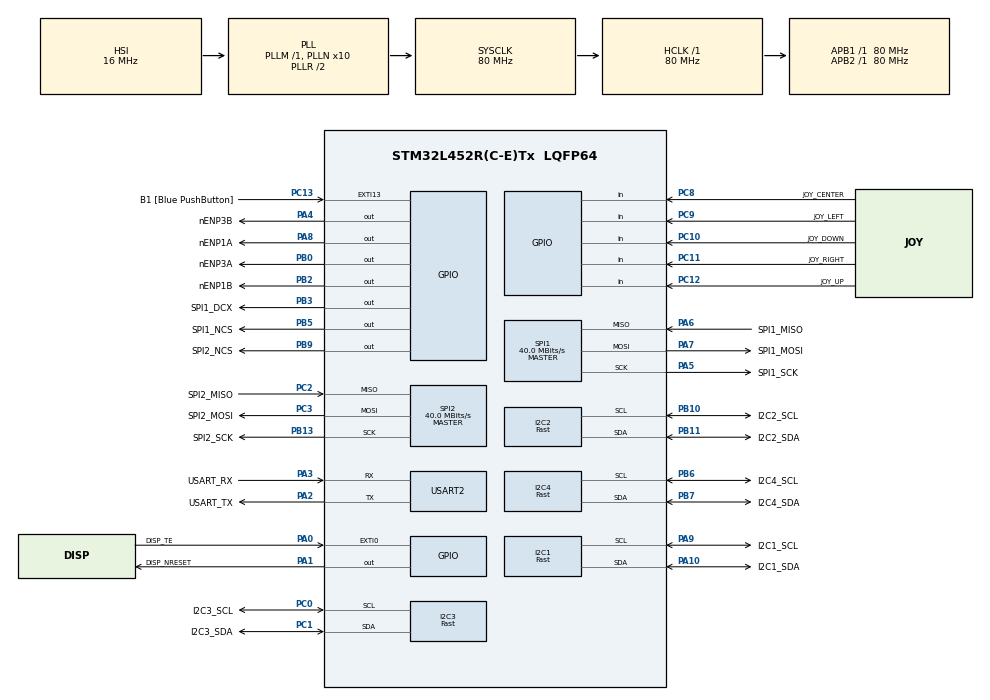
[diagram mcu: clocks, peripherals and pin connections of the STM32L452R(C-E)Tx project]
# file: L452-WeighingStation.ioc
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Dma.USART2_TX.7.MemInc=DMA_MINC_ENABLE
Dma.SPI2_TX.2.PeriphInc=DMA_PINC_DISABLE
Dma.SPI2_TX.2.MemInc=DMA_MINC_ENABLE
FREERTOS.Queues01=LineQueue,16,uint32_t,0,Dynamic,NULL,NULL
Dma.USART2_TX.7.Priority=DMA_PRIORITY_LOW
VP_SYS_VS_tim6.Mode=TIM6
Dma.SPI1_TX.0.PeriphInc=DMA_PINC_DISABLE
I2C1.I2C_Speed_Mode=I2C_Fast
SPI1.VirtualType=VM_MASTER
SPI2.VirtualType=VM_MASTER
PB10.Mode=I2C
NVIC.TIM6_DAC_IRQn=true\:0\:0\:false\:false\:true\:false\:false\:true
PC12.Signal=GPIO_Input
PA3.GPIO_PuPd=GPIO_NOPULL
Dma.USART2_RX.6.MemDataAlignment=DMA_MDATAALIGN_BYTE
PC1.GPIO_PuPdOD=GPIO_PULLUP
PC0.GPIO_PuPdOD=GPIO_PULLUP
PA6.GPIO_Label=SPI1_MISO
PB6.GPIO_Label=I2C4_SCL
PC15-OSC32_OUT\ (PC15).Mode=LSE-External-Oscillator
Dma.I2C4_RX.5.MemDataAlignment=DMA_MDATAALIGN_BYTE
Dma.SPI2_RX.1.Mode=DMA_NORMAL
PA3.GPIO_Speed=GPIO_SPEED_FREQ_VERY_HIGH
PB13.Signal=SPI2_SCK
PB3\ (JTDO/TRACESWO).GPIO_Speed=GPIO_SPEED_FREQ_HIGH
Dma.I2C1_RX.3.Priority=DMA_PRIORITY_LOW
PC3.GPIO_Speed=GPIO_SPEED_FREQ_HIGH
RCC.SYSCLKSource=RCC_SYSCLKSOURCE_PLLCLK
PC14-OSC32_IN\ (PC14).Mode=LSE-External-Oscillator
Dma.USART2_RX.6.Direction=DMA_PERIPH_TO_MEMORY
NVIC.DMA1_Channel3_IRQn=true\:5\:0\:false\:false\:true\:true\:false\:true
Dma.SPI2_RX.1.PeriphDataAlignment=DMA_PDATAALIGN_BYTE
PA14\ (JTCK/SWCLK).Signal=SYS_JTCK-SWCLK
I2C4.Timing=0x00702991
SPI1.Direction=SPI_DIRECTION_2LINES
I2C2.I2C_Speed_Mode=I2C_Fast
RCC.APB2TimFreq_Value=80000000
PB6.Signal=I2C4_SCL
PB6.Mode=I2C
SPI1.CalculateBaudRate=40.0 MBits/s
Dma.USART2_RX.6.Instance=DMA1_Channel6
PC3.Signal=SPI2_MOSI
PA1.GPIO_PuPd=GPIO_PULLUP
RCC.PREFETCH_ENABLE=1
Dma.I2C1_RX.3.Mode=DMA_NORMAL
NVIC.EXTI15_10_IRQn=true\:5\:0\:false\:false\:true\:true\:true\:true
PB2.Signal=GPIO_Output
PA13\ (JTMS/SWDIO).GPIO_Label=TMS
NVIC.DMA2_Channel4_IRQn=true\:5\:0\:false\:false\:true\:true\:false\:true
SPI1.DataSize=SPI_DATASIZE_8BIT
SPI2.CalculateBaudRate=40.0 MBits/s
Dma.I2C4_RX.5.Instance=DMA2_Channel1
PA8.Signal=GPIO_Output
PA14\ (JTCK/SWCLK).Mode=Serial_Wire
VP_FREERTOS_VS_CMSIS_V1.Mode=CMSIS_V1
PB6.GPIO_PuPdOD=GPIO_PULLUP
PA0.Signal=GPXTI0
Dma.SPI1_TX.0.Mode=DMA_NORMAL
Mcu.Package=LQFP64
PB9.Signal=GPIO_Output
NVIC.TimeBase=TIM6_DAC_IRQn
SPI2.Mode=SPI_MODE_MASTER
Dma.SPI2_TX.2.Mode=DMA_NORMAL
NVIC.TimeBaseIP=TIM6
PA10.Signal=I2C1_SDA
PB9.GPIO_PuPd=GPIO_PULLUP
Dma.I2C4_RX.5.PeriphDataAlignment=DMA_PDATAALIGN_BYTE
PA1.PinState=GPIO_PIN_SET
Dma.SPI2_RX.1.Instance=DMA1_Channel4
PB5.GPIO_Speed=GPIO_SPEED_FREQ_HIGH
Dma.USART2_TX.7.PeriphDataAlignment=DMA_PDATAALIGN_BYTE
PA14\ (JTCK/SWCLK).GPIO_Label=TCK
RCC.APB1TimFreq_Value=80000000
PB13.Mode=Full_Duplex_Master
NVIC.DMA1_Channel4_IRQn=true\:5\:0\:false\:false\:true\:true\:false\:true
PA6.GPIO_Speed=GPIO_SPEED_FREQ_HIGH
Dma.I2C4_RX.5.Mode=DMA_NORMAL
PA4.GPIO_Label=nENP3B
Dma.USART2_TX.7.Instance=DMA1_Channel7
RCC.HSI48_VALUE=48000000
Dma.I2C1_RX.3.MemDataAlignment=DMA_MDATAALIGN_BYTE
PA5.Mode=Full_Duplex_Master
PA2.GPIO_Mode=GPIO_MODE_AF_PP
NVIC.DMA1_Channel6_IRQn=true\:5\:0\:false\:false\:true\:true\:false\:true
I2C4.I2C_Speed_Mode=I2C_Fast
FREERTOS.Tasks01=defaultTask,0,128,StartDefaultTask,Default,NULL,Dynamic,NULL,NULL;WriteLineTask,-3,1024,StartWriteLineTask,Default,NULL,Dynamic,NULL,NULL;ReadI2C1Task,-3,128,StartReadI2C1Task,Default,NULL,Dynamic,NULL,NULL;ReadI2C2Task,-3,128,StartReadI2C2Task,Default,NULL,Dynamic,NULL,NULL;ReadI2C3Task,-3,128,StartReadI2C3Task,Default,NULL,Dynamic,NULL,NULL;ReadI2C4Task,-3,128,StartReadI2C4Task,Default,NULL,Dynamic,NULL,NULL;ShowWeightTask,-3,128,StartShowWeightTask,Default,NULL,Dynamic,NULL,NULL;DebugTask,-3,1024,StartDebugTask,Default,NULL,Dynamic,NULL,NULL
Dma.I2C3_RX.4.Mode=DMA_NORMAL
Dma.I2C4_RX.5.Priority=DMA_PRIORITY_LOW
FREERTOS.INCLUDE_xTaskGetCurrentTaskHandle=1
PA9.GPIO_Label=I2C1_SCL
PC13.Signal=GPXTI13
FREERTOS.configCHECK_FOR_STACK_OVERFLOW=2
PB10.GPIO_PuPdOD=GPIO_PULLUP
PB11.GPIO_PuPdOD=GPIO_PULLUP
PC2.Signal=SPI2_MISO
PB11.GPIO_Label=I2C2_SDA
PC0.Signal=I2C3_SCL
Dma.USART2_RX.6.PeriphInc=DMA_PINC_DISABLE
PA3.Mode=Asynchronous
Dma.USART2_RX.6.MemInc=DMA_MINC_ENABLE
Dma.USART2_RX.6.Mode=DMA_CIRCULAR
PA8.GPIO_Label=nENP1A
Dma.I2C3_RX.4.MemInc=DMA_MINC_ENABLE
PB11.Mode=I2C
Dma.I2C3_RX.4.MemDataAlignment=DMA_MDATAALIGN_BYTE
Dma.I2C4_RX.5.PeriphInc=DMA_PINC_DISABLE
PA9.Signal=I2C1_SCL
I2C1.Timing=0x00702991
PB13.GPIO_Speed=GPIO_SPEED_FREQ_HIGH
NVIC.I2C2_ER_IRQn=true\:5\:0\:false\:false\:true\:true\:true\:true
PB10.Signal=I2C2_SCL
PA5.Signal=SPI1_SCK
PA7.GPIO_Speed=GPIO_SPEED_FREQ_HIGH
NVIC.SPI1_IRQn=true\:5\:0\:false\:false\:true\:true\:true\:true
SPI1.Mode=SPI_MODE_MASTER
PA1.GPIO_Label=DISP_NRESET
Dma.SPI1_TX.0.Instance=DMA2_Channel4
NVIC.DMA2_Channel6_IRQn=true\:5\:0\:false\:false\:true\:true\:false\:true
Dma.USART2_TX.7.Direction=DMA_MEMORY_TO_PERIPH
PB7.GPIO_PuPdOD=GPIO_PULLUP
SPI1.NSSPMode=SPI_NSS_PULSE_DISABLE
PA4.Signal=GPIO_Output
PB5.Signal=GPIO_Output
PA5.GPIO_Label=SPI1_SCK
PB5.GPIO_PuPd=GPIO_PULLUP
PC12.GPIO_Label=JOY_UP
PB9.PinState=GPIO_PIN_SET
NVIC.DMA2_Channel1_IRQn=true\:5\:0\:false\:false\:true\:true\:false\:true
ProjectManager.HeapSize=0x200
Dma.I2C3_RX.4.Instance=DMA1_Channel3
Dma.USART2_TX.7.MemDataAlignment=DMA_MDATAALIGN_BYTE
NVIC.PriorityGroup=NVIC_PRIORITYGROUP_4
PC3.GPIO_Label=SPI2_MOSI
SPI2.DataSize=SPI_DATASIZE_8BIT
PB0.Signal=GPIO_Output
Dma.SPI2_RX.1.MemInc=DMA_MINC_ENABLE
PC1.Signal=I2C3_SDA
PA13\ (JTMS/SWDIO).Signal=SYS_JTMS-SWDIO
PC1.Mode=I2C
I2C3.I2C_Speed_Mode=I2C_Fast
Mcu.Family=STM32L4
PC3.Mode=Full_Duplex_Master
PA2.GPIO_PuPd=GPIO_NOPULL
Dma.SPI1_TX.0.MemInc=DMA_MINC_ENABLE
PA6.Mode=Full_Duplex_Master
Dma.SPI2_RX.1.MemDataAlignment=DMA_MDATAALIGN_BYTE
RCC.CortexFreq_Value=80000000
NVIC.DMA1_Channel5_IRQn=true\:5\:0\:false\:false\:true\:true\:false\:true
Dma.I2C1_RX.3.Direction=DMA_PERIPH_TO_MEMORY
PC10.Signal=GPIO_Input
I2C2.Timing=0x00702991
PA0.GPIO_Label=DISP_TE
PA2.GPIO_Speed=GPIO_SPEED_FREQ_VERY_HIGH
PC0.GPIO_Label=I2C3_SCL
PB0.GPIO_Label=nENP3A
PC2.GPIO_Speed=GPIO_SPEED_FREQ_HIGH
PC13.GPIO_Label=B1 [Blue PushButton]
PB13.GPIO_Label=SPI2_SCK
PB11.Signal=I2C2_SDA
Dma.SPI2_RX.1.Direction=DMA_PERIPH_TO_MEMORY
ProjectManager.StackSize=0x400
Dma.I2C4_RX.5.MemInc=DMA_MINC_ENABLE
PB0.PinState=GPIO_PIN_SET
Dma.USART2_TX.7.PeriphInc=DMA_PINC_DISABLE
RCC.HCLKFreq_Value=80000000
Dma.I2C3_RX.4.Priority=DMA_PRIORITY_LOW
PB5.PinState=GPIO_PIN_SET
Dma.SPI2_TX.2.PeriphDataAlignment=DMA_PDATAALIGN_BYTE
FREERTOS.configUSE_MALLOC_FAILED_HOOK=1
Dma.SPI2_TX.2.Instance=DMA1_Channel5
RCC.AHBFreq_Value=80000000
RCC.HSE_VALUE=8000000
USART2.VirtualMode-Asynchronous=VM_ASYNC
FREERTOS.configENABLE_BACKWARD_COMPATIBILITY=0
PC11.GPIO_Label=JOY_RIGHT
PA10.GPIO_Label=I2C1_SDA
PC13.GPIO_PuPd=GPIO_NOPULL
PB7.Signal=I2C4_SDA
NVIC.SPI2_IRQn=true\:5\:0\:false\:false\:true\:true\:true\:true
Dma.SPI2_TX.2.MemDataAlignment=DMA_MDATAALIGN_BYTE
FREERTOS.configTOTAL_HEAP_SIZE=65536
Dma.I2C4_RX.5.Direction=DMA_PERIPH_TO_MEMORY
PB7.GPIO_Label=I2C4_SDA
Dma.I2C1_RX.3.PeriphInc=DMA_PINC_DISABLE
PA6.Signal=SPI1_MISO
Dma.SPI2_TX.2.Priority=DMA_PRIORITY_LOW
PA10.GPIO_PuPdOD=GPIO_PULLUP
PA2.GPIO_Label=USART_TX
I2C3.Timing=0x00702991
PB9.GPIO_Speed=GPIO_SPEED_FREQ_HIGH
PB5.GPIO_Label=SPI1_NCS
Dma.Request2=SPI2_TX
Dma.Request1=SPI2_RX
Dma.Request4=I2C3_RX
Dma.Request3=I2C1_RX
Dma.Request6=USART2_RX
Dma.Request5=I2C4_RX
SPI2.Direction=SPI_DIRECTION_2LINES
Dma.Request7=USART2_TX
Dma.Request0=SPI1_TX
PC2.GPIO_Label=SPI2_MISO
PA8.PinState=GPIO_PIN_SET
PA3.Signal=USART2_RX
Dma.USART2_RX.6.PeriphDataAlignment=DMA_PDATAALIGN_BYTE
PB3\ (JTDO/TRACESWO).GPIO_Label=SPI1_DCX
RCC.MSI_VALUE=4000000
RCC.PLLSourceVirtual=RCC_PLLSOURCE_HSI
PA7.Mode=Full_Duplex_Master
PA13\ (JTMS/SWDIO).Mode=Serial_Wire
PB9.GPIO_Label=SPI2_NCS
PC10.GPIO_Label=JOY_DOWN
PA10.Mode=I2C
PC9.GPIO_Label=JOY_LEFT
PC11.Signal=GPIO_Input
SPI2.NSSPMode=SPI_NSS_PULSE_DISABLE
PC8.Signal=GPIO_Input
Dma.I2C1_RX.3.PeriphDataAlignment=DMA_PDATAALIGN_BYTE
PC2.Mode=Full_Duplex_Master
PC15-OSC32_OUT\ (PC15).Signal=RCC_OSC32_OUT
Dma.I2C3_RX.4.PeriphInc=DMA_PINC_DISABLE
NVIC.USART2_IRQn=true\:5\:0\:false\:false\:true\:true\:true\:true
PC0.Mode=I2C
PC8.GPIO_Label=JOY_CENTER
PA9.Mode=I2C
PA4.PinState=GPIO_PIN_SET
FREERTOS.configRECORD_STACK_HIGH_ADDRESS=1
PB3\ (JTDO/TRACESWO).Signal=GPIO_Output
ProjectManager.TargetToolchain=STM32CubeIDE
PB10.GPIO_Label=I2C2_SCL
PA3.GPIO_Mode=GPIO_MODE_AF_PP
Dma.SPI2_TX.2.Direction=DMA_MEMORY_TO_PERIPH
Dma.SPI1_TX.0.PeriphDataAlignment=DMA_PDATAALIGN_HALFWORD
Dma.SPI1_TX.0.Direction=DMA_MEMORY_TO_PERIPH
RCC.USBFreq_Value=64000000
Dma.USART2_TX.7.Mode=DMA_NORMAL
PA1.Signal=GPIO_Output
board=NUCLEO-L452RE
RCC.VCOOutputFreq_Value=160000000
RCC.APB2Freq_Value=80000000
Dma.SPI2_RX.1.Priority=DMA_PRIORITY_LOW
PA1.GPIO_Speed=GPIO_SPEED_FREQ_HIGH
RCC.ADCFreq_Value=64000000
PC1.GPIO_Label=I2C3_SDA
PA9.GPIO_PuPdOD=GPIO_PULLUP
Dma.I2C3_RX.4.Direction=DMA_PERIPH_TO_MEMORY
Mcu.Name=STM32L452R(C-E)Tx
PB2.PinState=GPIO_PIN_SET
Dma.SPI2_RX.1.PeriphInc=DMA_PINC_DISABLE
Dma.I2C1_RX.3.Instance=DMA2_Channel6
PA2.Signal=USART2_TX
Dma.I2C3_RX.4.PeriphDataAlignment=DMA_PDATAALIGN_BYTE
NVIC.EXTI0_IRQn=true\:5\:0\:true\:false\:true\:true\:true\:true
RCC.SYSCLKFreq_VALUE=80000000
PA7.GPIO_Label=SPI1_MOSI
PC13.GPIO_ModeDefaultEXTI=GPIO_MODE_IT_FALLING
PC14-OSC32_IN\ (PC14).Signal=RCC_OSC32_IN
PB7.Mode=I2C
PB2.GPIO_Label=nENP1B
Dma.SPI1_TX.0.Priority=DMA_PRIORITY_LOW
Dma.SPI1_TX.0.MemDataAlignment=DMA_MDATAALIGN_HALFWORD
NVIC.I2C2_EV_IRQn=true\:5\:0\:false\:false\:true\:true\:true\:true
RCC.HSI_VALUE=16000000
Dma.I2C1_RX.3.MemInc=DMA_MINC_ENABLE
Dma.USART2_RX.6.Priority=DMA_PRIORITY_LOW
PA5.GPIO_Speed=GPIO_SPEED_FREQ_HIGH
RCC.PLLN=10
PA2.Mode=Asynchronous
NVIC.DMA1_Channel7_IRQn=true\:5\:0\:false\:false\:true\:true\:false\:true
PC9.Signal=GPIO_Input
RCC.APB1Freq_Value=80000000
VP_CRC_VS_CRC.Mode=CRC_Activate
PA3.GPIO_Label=USART_RX
PA7.Signal=SPI1_MOSI

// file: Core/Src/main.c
/* USER CODE BEGIN Header */
/**
  ******************************************************************************
  * @file           : main.c
  * @brief          : Main program body
  ******************************************************************************
  * @attention
  *
  * <h2><center>&copy; Copyright (c) 2020 STMicroelectronics.
  * All rights reserved.</center></h2>
  *
  * This software component is licensed by ST under BSD 3-Clause license,
  * the "License"; You may not use this file except in compliance with the
  * License. You may obtain a copy of the License at:
  *                        opensource.org/licenses/BSD-3-Clause
  *
  ******************************************************************************
  */
/* USER CODE END Header */
#include "main.h"
#include "cmsis_os.h"

/* USER CODE BEGIN Includes */
#include <stdio.h>
#include <stdarg.h>
#include <string.h>
#include "app_display.h"
/* USER CODE END Includes */

/* USER CODE BEGIN PTD */
typedef struct _cell_t {
	I2C_HandleTypeDef *handle;
	volatile uint8_t address;
	GPIO_TypeDef *gpio;
	uint16_t pin;
} CellTypeDef;
/* USER CODE END PTD */

CRC_HandleTypeDef hcrc;

I2C_HandleTypeDef hi2c1;
I2C_HandleTypeDef hi2c2;
I2C_HandleTypeDef hi2c3;
I2C_HandleTypeDef hi2c4;
DMA_HandleTypeDef hdma_i2c1_rx;
DMA_HandleTypeDef hdma_i2c3_rx;
DMA_HandleTypeDef hdma_i2c4_rx;

SPI_HandleTypeDef hspi1;
SPI_HandleTypeDef hspi2;
DMA_HandleTypeDef hdma_spi1_tx;
DMA_HandleTypeDef hdma_spi2_rx;
DMA_HandleTypeDef hdma_spi2_tx;

UART_HandleTypeDef huart2;
DMA_HandleTypeDef hdma_usart2_rx;
DMA_HandleTypeDef hdma_usart2_tx;

osThreadId defaultTaskHandle;
osThreadId WriteLineTaskHandle;
osThreadId ReadI2C1TaskHandle;
osThreadId ReadI2C2TaskHandle;
osThreadId ReadI2C3TaskHandle;
osThreadId ReadI2C4TaskHandle;
osThreadId ShowWeightTaskHandle;
osThreadId DebugTaskHandle;
osMessageQId LineQueueHandle;
/* USER CODE BEGIN PV */
volatile unsigned int u2rc;
volatile unsigned int u2hrc;
volatile unsigned int u2tc;
volatile unsigned int u2htc;
volatile unsigned int u2ec;
volatile unsigned int u2ic;
volatile unsigned int errs[4], errs3, errs4;
volatile unsigned int counts[4], counts3, counts4;
volatile unsigned int stale[4], stale3, stale4;
volatile unsigned int badstatus[4], badstatus3, badstatus4;
volatile uint8_t bridgeValue[4 * 4], bridgeValue3[4], bridgeValue4[4];
unsigned char dbgBuf[256];
unsigned char input[64];
unsigned char u2tx[256];
unsigned char u2rx[64];
volatile uint8_t setZero[4];
volatile uint8_t setZero3;
volatile uint8_t setZero4;
volatile uint8_t availableCells;
CellTypeDef cell[4] = {
		{&hi2c1, 0, nENP1A_GPIO_Port, nENP1A_Pin},
		{&hi2c1, 0, nENP1B_GPIO_Port, nENP1B_Pin},
		{&hi2c3, 0, nENP3A_GPIO_Port, nENP3A_Pin},
		{&hi2c3, 0, nENP3B_GPIO_Port, nENP3B_Pin}
};
/* USER CODE END PV */

void SystemClock_Config(void);
static void MX_GPIO_Init(void);
static void MX_DMA_Init(void);
static void MX_USART2_UART_Init(void);
static void MX_SPI1_Init(void);
static void MX_SPI2_Init(void);
static void MX_CRC_Init(void);
static void MX_I2C1_Init(void);
static void MX_I2C2_Init(void);
static void MX_I2C3_Init(void);
static void MX_I2C4_Init(void);
void StartDefaultTask(void const * argument);
void StartWriteLineTask(void const * argument);
void StartReadI2C1Task(void const * argument);
void StartReadI2C2Task(void const * argument);
void StartReadI2C3Task(void const * argument);
void StartReadI2C4Task(void const * argument);
void StartShowWeightTask(void const * argument);
void StartDebugTask(void const * argument);

/* USER CODE BEGIN PFP */
void my_printf(char *, ...) _ATTRIBUTE ((__format__ (__printf__, 1, 2)));
HAL_StatusTypeDef read_cell(CellTypeDef *, uint8_t, uint8_t *, const uint32_t);
HAL_StatusTypeDef powerup_and_read(unsigned int, uint8_t *, const uint32_t);
HAL_StatusTypeDef write_word(CellTypeDef *, uint8_t *, uint8_t, uint8_t, uint8_t, const uint32_t);
HAL_StatusTypeDef exit_command_mode(CellTypeDef *, uint8_t *, const uint32_t);
/* USER CODE END PFP */

int main(void)
{

  /* MCU Configuration--------------------------------------------------------*/

  /* Reset of all peripherals, Initializes the Flash interface and the Systick. */
  HAL_Init();

  /* Configure the system clock */
  SystemClock_Config();

  /* USER CODE BEGIN SysInit */

  // !!!!!  Make sure MX_DMA_Init(); comes before the UARTS here below...
  // !!!!!  Get enough stack room for the tasks (set minimal stack size to 512 at this point)
  // !!!!!  Watch out about interrupt priorities for DMA and/or UARTs ... ??? not sure what is the real deal there
  //        but when 0 instead of 5 I get vTaskNotifyGiveFromISR freezing the system from the DMA completion callback...

  /* USER CODE END SysInit */

  /* Initialize all configured peripherals */
  MX_GPIO_Init();
  MX_DMA_Init();
  MX_USART2_UART_Init();
  MX_SPI1_Init();
  MX_SPI2_Init();
  MX_CRC_Init();
  MX_I2C1_Init();
  MX_I2C2_Init();
  MX_I2C3_Init();
  MX_I2C4_Init();

  /* Create the queue(s) */
  /* definition and creation of LineQueue */
  osMessageQDef(LineQueue, 16, uint32_t);
  LineQueueHandle = osMessageCreate(osMessageQ(LineQueue), NULL);

  /* Create the thread(s) */
  /* definition and creation of defaultTask */
  osThreadDef(defaultTask, StartDefaultTask, osPriorityNormal, 0, 128);
  defaultTaskHandle = osThreadCreate(osThread(defaultTask), NULL);

  /* definition and creation of WriteLineTask */
  osThreadDef(WriteLineTask, StartWriteLineTask, osPriorityIdle, 0, 1024);
  WriteLineTaskHandle = osThreadCreate(osThread(WriteLineTask), NULL);

  /* definition and creation of ReadI2C1Task */
  osThreadDef(ReadI2C1Task, StartReadI2C1Task, osPriorityIdle, 0, 128);
  ReadI2C1TaskHandle = osThreadCreate(osThread(ReadI2C1Task), NULL);

  /* definition and creation of ReadI2C2Task */
  osThreadDef(ReadI2C2Task, StartReadI2C2Task, osPriorityIdle, 0, 128);
  ReadI2C2TaskHandle = osThreadCreate(osThread(ReadI2C2Task), NULL);

  /* definition and creation of ReadI2C3Task */
  osThreadDef(ReadI2C3Task, StartReadI2C3Task, osPriorityIdle, 0, 128);
  ReadI2C3TaskHandle = osThreadCreate(osThread(ReadI2C3Task), NULL);

  /* definition and creation of ReadI2C4Task */
  osThreadDef(ReadI2C4Task, StartReadI2C4Task, osPriorityIdle, 0, 128);
  ReadI2C4TaskHandle = osThreadCreate(osThread(ReadI2C4Task), NULL);

  /* definition and creation of ShowWeightTask */
  osThreadDef(ShowWeightTask, StartShowWeightTask, osPriorityIdle, 0, 128);
  ShowWeightTaskHandle = osThreadCreate(osThread(ShowWeightTask), NULL);

  /* definition and creation of DebugTask */
  osThreadDef(DebugTask, StartDebugTask, osPriorityIdle, 0, 1024);
  DebugTaskHandle = osThreadCreate(osThread(DebugTask), NULL);

  /* Start scheduler */
  osKernelStart();

  /* We should never get here as control is now taken by the scheduler */
  /* Infinite loop */
  while (1)
  {

  }
}

void SystemClock_Config(void)
{
  RCC_OscInitTypeDef RCC_OscInitStruct = {0};
  RCC_ClkInitTypeDef RCC_ClkInitStruct = {0};
  RCC_PeriphCLKInitTypeDef PeriphClkInit = {0};

  /** Initializes the RCC Oscillators according to the specified parameters
  * in the RCC_OscInitTypeDef structure.
  */
  RCC_OscInitStruct.OscillatorType = RCC_OSCILLATORTYPE_HSI;
  RCC_OscInitStruct.HSIState = RCC_HSI_ON;
  RCC_OscInitStruct.HSICalibrationValue = RCC_HSICALIBRATION_DEFAULT;
  RCC_OscInitStruct.PLL.PLLState = RCC_PLL_ON;
  RCC_OscInitStruct.PLL.PLLSource = RCC_PLLSOURCE_HSI;
  RCC_OscInitStruct.PLL.PLLM = 1;
  RCC_OscInitStruct.PLL.PLLN = 10;
  RCC_OscInitStruct.PLL.PLLP = RCC_PLLP_DIV7;
  RCC_OscInitStruct.PLL.PLLQ = RCC_PLLQ_DIV2;
  RCC_OscInitStruct.PLL.PLLR = RCC_PLLR_DIV2;
  if (HAL_RCC_OscConfig(&RCC_OscInitStruct) != HAL_OK)
  {
    Error_Handler();
  }
  /** Initializes the CPU, AHB and APB buses clocks
  */
  RCC_ClkInitStruct.ClockType = RCC_CLOCKTYPE_HCLK|RCC_CLOCKTYPE_SYSCLK
                              |RCC_CLOCKTYPE_PCLK1|RCC_CLOCKTYPE_PCLK2;
  RCC_ClkInitStruct.SYSCLKSource = RCC_SYSCLKSOURCE_PLLCLK;
  RCC_ClkInitStruct.AHBCLKDivider = RCC_SYSCLK_DIV1;
  RCC_ClkInitStruct.APB1CLKDivider = RCC_HCLK_DIV1;
  RCC_ClkInitStruct.APB2CLKDivider = RCC_HCLK_DIV1;

  if (HAL_RCC_ClockConfig(&RCC_ClkInitStruct, FLASH_LATENCY_4) != HAL_OK)
  {
    Error_Handler();
  }
  PeriphClkInit.PeriphClockSelection = RCC_PERIPHCLK_USART2|RCC_PERIPHCLK_I2C1
                              |RCC_PERIPHCLK_I2C2|RCC_PERIPHCLK_I2C4
                              |RCC_PERIPHCLK_I2C3;
  PeriphClkInit.Usart2ClockSelection = RCC_USART2CLKSOURCE_PCLK1;
  PeriphClkInit.I2c1ClockSelection = RCC_I2C1CLKSOURCE_PCLK1;
  PeriphClkInit.I2c2ClockSelection = RCC_I2C2CLKSOURCE_PCLK1;
  PeriphClkInit.I2c3ClockSelection = RCC_I2C3CLKSOURCE_PCLK1;
  PeriphClkInit.I2c4ClockSelection = RCC_I2C4CLKSOURCE_PCLK1;
  if (HAL_RCCEx_PeriphCLKConfig(&PeriphClkInit) != HAL_OK)
  {
    Error_Handler();
  }
  /** Configure the main internal regulator output voltage
  */
  if (HAL_PWREx_ControlVoltageScaling(PWR_REGULATOR_VOLTAGE_SCALE1) != HAL_OK)
  {
    Error_Handler();
  }
}

static void MX_CRC_Init(void)
{

  hcrc.Instance = CRC;
  hcrc.Init.DefaultPolynomialUse = DEFAULT_POLYNOMIAL_ENABLE;
  hcrc.Init.DefaultInitValueUse = DEFAULT_INIT_VALUE_ENABLE;
  hcrc.Init.InputDataInversionMode = CRC_INPUTDATA_INVERSION_NONE;
  hcrc.Init.OutputDataInversionMode = CRC_OUTPUTDATA_INVERSION_DISABLE;
  hcrc.InputDataFormat = CRC_INPUTDATA_FORMAT_BYTES;
  if (HAL_CRC_Init(&hcrc) != HAL_OK)
  {
    Error_Handler();
  }

}

static void MX_I2C1_Init(void)
{

  hi2c1.Instance = I2C1;
  hi2c1.Init.Timing = 0x00702991;
  hi2c1.Init.OwnAddress1 = 0;
  hi2c1.Init.AddressingMode = I2C_ADDRESSINGMODE_7BIT;
  hi2c1.Init.DualAddressMode = I2C_DUALADDRESS_DISABLE;
  hi2c1.Init.OwnAddress2 = 0;
  hi2c1.Init.OwnAddress2Masks = I2C_OA2_NOMASK;
  hi2c1.Init.GeneralCallMode = I2C_GENERALCALL_DISABLE;
  hi2c1.Init.NoStretchMode = I2C_NOSTRETCH_DISABLE;
  if (HAL_I2C_Init(&hi2c1) != HAL_OK)
  {
    Error_Handler();
  }
  /** Configure Analogue filter
  */
  if (HAL_I2CEx_ConfigAnalogFilter(&hi2c1, I2C_ANALOGFILTER_ENABLE) != HAL_OK)
  {
    Error_Handler();
  }
  /** Configure Digital filter
  */
  if (HAL_I2CEx_ConfigDigitalFilter(&hi2c1, 0) != HAL_OK)
  {
    Error_Handler();
  }

}

static void MX_I2C2_Init(void)
{

  hi2c2.Instance = I2C2;
  hi2c2.Init.Timing = 0x00702991;
  hi2c2.Init.OwnAddress1 = 0;
  hi2c2.Init.AddressingMode = I2C_ADDRESSINGMODE_7BIT;
  hi2c2.Init.DualAddressMode = I2C_DUALADDRESS_DISABLE;
  hi2c2.Init.OwnAddress2 = 0;
  hi2c2.Init.OwnAddress2Masks = I2C_OA2_NOMASK;
  hi2c2.Init.GeneralCallMode = I2C_GENERALCALL_DISABLE;
  hi2c2.Init.NoStretchMode = I2C_NOSTRETCH_DISABLE;
  if (HAL_I2C_Init(&hi2c2) != HAL_OK)
  {
    Error_Handler();
  }
  /** Configure Analogue filter
  */
  if (HAL_I2CEx_ConfigAnalogFilter(&hi2c2, I2C_ANALOGFILTER_ENABLE) != HAL_OK)
  {
    Error_Handler();
  }
  /** Configure Digital filter
  */
  if (HAL_I2CEx_ConfigDigitalFilter(&hi2c2, 0) != HAL_OK)
  {
    Error_Handler();
  }

}

static void MX_I2C3_Init(void)
{

  hi2c3.Instance = I2C3;
  hi2c3.Init.Timing = 0x00702991;
  hi2c3.Init.OwnAddress1 = 0;
  hi2c3.Init.AddressingMode = I2C_ADDRESSINGMODE_7BIT;
  hi2c3.Init.DualAddressMode = I2C_DUALADDRESS_DISABLE;
  hi2c3.Init.OwnAddress2 = 0;
  hi2c3.Init.OwnAddress2Masks = I2C_OA2_NOMASK;
  hi2c3.Init.GeneralCallMode = I2C_GENERALCALL_DISABLE;
  hi2c3.Init.NoStretchMode = I2C_NOSTRETCH_DISABLE;
  if (HAL_I2C_Init(&hi2c3) != HAL_OK)
  {
    Error_Handler();
  }
  /** Configure Analogue filter
  */
  if (HAL_I2CEx_ConfigAnalogFilter(&hi2c3, I2C_ANALOGFILTER_ENABLE) != HAL_OK)
  {
    Error_Handler();
  }
  /** Configure Digital filter
  */
  if (HAL_I2CEx_ConfigDigitalFilter(&hi2c3, 0) != HAL_OK)
  {
    Error_Handler();
  }

}

static void MX_I2C4_Init(void)
{

  hi2c4.Instance = I2C4;
  hi2c4.Init.Timing = 0x00702991;
  hi2c4.Init.OwnAddress1 = 0;
  hi2c4.Init.AddressingMode = I2C_ADDRESSINGMODE_7BIT;
  hi2c4.Init.DualAddressMode = I2C_DUALADDRESS_DISABLE;
  hi2c4.Init.OwnAddress2 = 0;
  hi2c4.Init.OwnAddress2Masks = I2C_OA2_NOMASK;
  hi2c4.Init.GeneralCallMode = I2C_GENERALCALL_DISABLE;
  hi2c4.Init.NoStretchMode = I2C_NOSTRETCH_DISABLE;
  if (HAL_I2C_Init(&hi2c4) != HAL_OK)
  {
    Error_Handler();
  }
  /** Configure Analogue filter
  */
  if (HAL_I2CEx_ConfigAnalogFilter(&hi2c4, I2C_ANALOGFILTER_ENABLE) != HAL_OK)
  {
    Error_Handler();
  }
  /** Configure Digital filter
  */
  if (HAL_I2CEx_ConfigDigitalFilter(&hi2c4, 0) != HAL_OK)
  {
    Error_Handler();
  }

}

static void MX_SPI1_Init(void)
{

  /* SPI1 parameter configuration*/
  hspi1.Instance = SPI1;
  hspi1.Init.Mode = SPI_MODE_MASTER;
  hspi1.Init.Direction = SPI_DIRECTION_2LINES;
  hspi1.Init.DataSize = SPI_DATASIZE_8BIT;
  hspi1.Init.CLKPolarity = SPI_POLARITY_LOW;
  hspi1.Init.CLKPhase = SPI_PHASE_1EDGE;
  hspi1.Init.NSS = SPI_NSS_SOFT;
  hspi1.Init.BaudRatePrescaler = SPI_BAUDRATEPRESCALER_2;
  hspi1.Init.FirstBit = SPI_FIRSTBIT_MSB;
  hspi1.Init.TIMode = SPI_TIMODE_DISABLE;
  hspi1.Init.CRCCalculation = SPI_CRCCALCULATION_DISABLE;
  hspi1.Init.CRCPolynomial = 7;
  hspi1.Init.CRCLength = SPI_CRC_LENGTH_DATASIZE;
  hspi1.Init.NSSPMode = SPI_NSS_PULSE_DISABLE;
  if (HAL_SPI_Init(&hspi1) != HAL_OK)
  {
    Error_Handler();
  }

}

static void MX_SPI2_Init(void)
{

  /* SPI2 parameter configuration*/
  hspi2.Instance = SPI2;
  hspi2.Init.Mode = SPI_MODE_MASTER;
  hspi2.Init.Direction = SPI_DIRECTION_2LINES;
  hspi2.Init.DataSize = SPI_DATASIZE_8BIT;
  hspi2.Init.CLKPolarity = SPI_POLARITY_LOW;
  hspi2.Init.CLKPhase = SPI_PHASE_1EDGE;
  hspi2.Init.NSS = SPI_NSS_SOFT;
  hspi2.Init.BaudRatePrescaler = SPI_BAUDRATEPRESCALER_2;
  hspi2.Init.FirstBit = SPI_FIRSTBIT_MSB;
  hspi2.Init.TIMode = SPI_TIMODE_DISABLE;
  hspi2.Init.CRCCalculation = SPI_CRCCALCULATION_DISABLE;
  hspi2.Init.CRCPolynomial = 7;
  hspi2.Init.CRCLength = SPI_CRC_LENGTH_DATASIZE;
  hspi2.Init.NSSPMode = SPI_NSS_PULSE_DISABLE;
  if (HAL_SPI_Init(&hspi2) != HAL_OK)
  {
    Error_Handler();
  }

}

static void MX_USART2_UART_Init(void)
{

  huart2.Instance = USART2;
  huart2.Init.BaudRate = 115200;
  huart2.Init.WordLength = UART_WORDLENGTH_8B;
  huart2.Init.StopBits = UART_STOPBITS_1;
  huart2.Init.Parity = UART_PARITY_NONE;
  huart2.Init.Mode = UART_MODE_TX_RX;
  huart2.Init.HwFlowCtl = UART_HWCONTROL_NONE;
  huart2.Init.OverSampling = UART_OVERSAMPLING_16;
  huart2.Init.OneBitSampling = UART_ONE_BIT_SAMPLE_DISABLE;
  huart2.AdvancedInit.AdvFeatureInit = UART_ADVFEATURE_NO_INIT;
  if (HAL_UART_Init(&huart2) != HAL_OK)
  {
    Error_Handler();
  }

}

static void MX_DMA_Init(void)
{

  /* DMA controller clock enable */
  __HAL_RCC_DMA2_CLK_ENABLE();
  __HAL_RCC_DMA1_CLK_ENABLE();

  /* DMA interrupt init */
  /* DMA1_Channel3_IRQn interrupt configuration */
  HAL_NVIC_SetPriority(DMA1_Channel3_IRQn, 5, 0);
  HAL_NVIC_EnableIRQ(DMA1_Channel3_IRQn);
  /* DMA1_Channel4_IRQn interrupt configuration */
  HAL_NVIC_SetPriority(DMA1_Channel4_IRQn, 5, 0);
  HAL_NVIC_EnableIRQ(DMA1_Channel4_IRQn);
  /* DMA1_Channel5_IRQn interrupt configuration */
  HAL_NVIC_SetPriority(DMA1_Channel5_IRQn, 5, 0);
  HAL_NVIC_EnableIRQ(DMA1_Channel5_IRQn);
  /* DMA1_Channel6_IRQn interrupt configuration */
  HAL_NVIC_SetPriority(DMA1_Channel6_IRQn, 5, 0);
  HAL_NVIC_EnableIRQ(DMA1_Channel6_IRQn);
  /* DMA1_Channel7_IRQn interrupt configuration */
  HAL_NVIC_SetPriority(DMA1_Channel7_IRQn, 5, 0);
  HAL_NVIC_EnableIRQ(DMA1_Channel7_IRQn);
  /* DMA2_Channel1_IRQn interrupt configuration */
  HAL_NVIC_SetPriority(DMA2_Channel1_IRQn, 5, 0);
  HAL_NVIC_EnableIRQ(DMA2_Channel1_IRQn);
  /* DMA2_Channel4_IRQn interrupt configuration */
  HAL_NVIC_SetPriority(DMA2_Channel4_IRQn, 5, 0);
  HAL_NVIC_EnableIRQ(DMA2_Channel4_IRQn);
  /* DMA2_Channel6_IRQn interrupt configuration */
  HAL_NVIC_SetPriority(DMA2_Channel6_IRQn, 5, 0);
  HAL_NVIC_EnableIRQ(DMA2_Channel6_IRQn);

}

static void MX_GPIO_Init(void)
{
  GPIO_InitTypeDef GPIO_InitStruct = {0};

  /* GPIO Ports Clock Enable */
  __HAL_RCC_GPIOC_CLK_ENABLE();
  __HAL_RCC_GPIOA_CLK_ENABLE();
  __HAL_RCC_GPIOB_CLK_ENABLE();

  /*Configure GPIO pin Output Level */
  HAL_GPIO_WritePin(GPIOA, DISP_NRESET_Pin|nENP3B_Pin|nENP1A_Pin, GPIO_PIN_SET);

  /*Configure GPIO pin Output Level */
  HAL_GPIO_WritePin(GPIOB, nENP3A_Pin|nENP1B_Pin|SPI1_NCS_Pin|SPI2_NCS_Pin, GPIO_PIN_SET);

  /*Configure GPIO pin Output Level */
  HAL_GPIO_WritePin(SPI1_DCX_GPIO_Port, SPI1_DCX_Pin, GPIO_PIN_RESET);

  /*Configure GPIO pin : B1_Pin */
  GPIO_InitStruct.Pin = B1_Pin;
  GPIO_InitStruct.Mode = GPIO_MODE_IT_FALLING;
  GPIO_InitStruct.Pull = GPIO_NOPULL;
  HAL_GPIO_Init(B1_GPIO_Port, &GPIO_InitStruct);

  /*Configure GPIO pin : DISP_TE_Pin */
  GPIO_InitStruct.Pin = DISP_TE_Pin;
  GPIO_InitStruct.Mode = GPIO_MODE_IT_RISING;
  GPIO_InitStruct.Pull = GPIO_NOPULL;
  HAL_GPIO_Init(DISP_TE_GPIO_Port, &GPIO_InitStruct);

  /*Configure GPIO pin : DISP_NRESET_Pin */
  GPIO_InitStruct.Pin = DISP_NRESET_Pin;
  GPIO_InitStruct.Mode = GPIO_MODE_OUTPUT_PP;
  GPIO_InitStruct.Pull = GPIO_PULLUP;
  GPIO_InitStruct.Speed = GPIO_SPEED_FREQ_HIGH;
  HAL_GPIO_Init(DISP_NRESET_GPIO_Port, &GPIO_InitStruct);

  /*Configure GPIO pins : nENP3B_Pin nENP1A_Pin */
  GPIO_InitStruct.Pin = nENP3B_Pin|nENP1A_Pin;
  GPIO_InitStruct.Mode = GPIO_MODE_OUTPUT_PP;
  GPIO_InitStruct.Pull = GPIO_NOPULL;
  GPIO_InitStruct.Speed = GPIO_SPEED_FREQ_LOW;
  HAL_GPIO_Init(GPIOA, &GPIO_InitStruct);

  /*Configure GPIO pins : nENP3A_Pin nENP1B_Pin */
  GPIO_InitStruct.Pin = nENP3A_Pin|nENP1B_Pin;
  GPIO_InitStruct.Mode = GPIO_MODE_OUTPUT_PP;
  GPIO_InitStruct.Pull = GPIO_NOPULL;
  GPIO_InitStruct.Speed = GPIO_SPEED_FREQ_LOW;
  HAL_GPIO_Init(GPIOB, &GPIO_InitStruct);

  /*Configure GPIO pins : JOY_CENTER_Pin JOY_LEFT_Pin JOY_DOWN_Pin JOY_RIGHT_Pin
                           JOY_UP_Pin */
  GPIO_InitStruct.Pin = JOY_CENTER_Pin|JOY_LEFT_Pin|JOY_DOWN_Pin|JOY_RIGHT_Pin
                          |JOY_UP_Pin;
  GPIO_InitStruct.Mode = GPIO_MODE_INPUT;
  GPIO_InitStruct.Pull = GPIO_NOPULL;
  HAL_GPIO_Init(GPIOC, &GPIO_InitStruct);

  /*Configure GPIO pin : SPI1_DCX_Pin */
  GPIO_InitStruct.Pin = SPI1_DCX_Pin;
  GPIO_InitStruct.Mode = GPIO_MODE_OUTPUT_PP;
  GPIO_InitStruct.Pull = GPIO_NOPULL;
  GPIO_InitStruct.Speed = GPIO_SPEED_FREQ_HIGH;
  HAL_GPIO_Init(SPI1_DCX_GPIO_Port, &GPIO_InitStruct);

  /*Configure GPIO pins : SPI1_NCS_Pin SPI2_NCS_Pin */
  GPIO_InitStruct.Pin = SPI1_NCS_Pin|SPI2_NCS_Pin;
  GPIO_InitStruct.Mode = GPIO_MODE_OUTPUT_PP;
  GPIO_InitStruct.Pull = GPIO_PULLUP;
  GPIO_InitStruct.Speed = GPIO_SPEED_FREQ_HIGH;
  HAL_GPIO_Init(GPIOB, &GPIO_InitStruct);

  /* EXTI interrupt init*/
  HAL_NVIC_SetPriority(EXTI0_IRQn, 5, 0);
  HAL_NVIC_EnableIRQ(EXTI0_IRQn);

  HAL_NVIC_SetPriority(EXTI15_10_IRQn, 5, 0);
  HAL_NVIC_EnableIRQ(EXTI15_10_IRQn);

}

/* USER CODE BEGIN 4 */
void HAL_UART_TxCpltCallback(UART_HandleTypeDef *huart)
{
	BaseType_t xHigherPriorityTaskWoken = pdFALSE;

	if (huart->Instance == USART2)
	{
		u2tc += 1;
		/* Notify the task that the transmission is complete. */
		// FIXME - should use a variable with the task currently waiting...
    vTaskNotifyGiveFromISR(DebugTaskHandle, &xHigherPriorityTaskWoken);
    portYIELD_FROM_ISR(xHigherPriorityTaskWoken);
	}
}

void HAL_UART_TxHalfCpltCallback(UART_HandleTypeDef *huart)
{
	if (huart->Instance == USART2)
		u2htc += 1;
}

void HAL_UART_RxCpltCallback(UART_HandleTypeDef *huart)
{
	if (huart->Instance == USART2)
		u2rc += 1;
}

void HAL_UART_RxHalfCpltCallback(UART_HandleTypeDef *huart)
{
	if (huart->Instance == USART2)
		u2hrc += 1;
}

void HAL_UART_ErrorCallback(UART_HandleTypeDef *huart)
{
	if (huart->Instance == USART2)
		u2ec += 1;
}

void HAL_GPIO_EXTI_Callback(uint16_t GPIO_Pin)
{
	if (GPIO_Pin == B1_Pin)
	{
		setZero[0] = 1;
		setZero[1] = 1;
		setZero[2] = 1;
		setZero[3] = 1;
		//HAL_GPIO_TogglePin(LD3_GPIO_Port, LD3_Pin);
	}
}

void HAL_SPI_TxCpltCallback(SPI_HandleTypeDef *hspi)
{
	BaseType_t xHigherPriorityTaskWoken = pdFALSE;

	if (hspi->Instance == SPI1)
	{
		/* Notify the task that the transmission is complete. */
		// FIXME - should use a variable with the task currently waiting...
    vTaskNotifyGiveFromISR(WriteLineTaskHandle, &xHigherPriorityTaskWoken);
    portYIELD_FROM_ISR(xHigherPriorityTaskWoken);
	}
}

void HAL_SPI_RxCpltCallback(SPI_HandleTypeDef *hspi)
{
}

#if 0
void HAL_I2C_MasterRxCpltCallback(I2C_HandleTypeDef *hi2c)
{
	if (hi2c == &hi2c3)
	{
		HAL_GPIO_TogglePin(LD4_GPIO_Port, LD4_Pin);
		memcpy(bridgeValue,dataBuf,2);
	}
}
#endif

int UART_Receive(unsigned char *dest, const unsigned char *rx, UART_HandleTypeDef *huart, unsigned int *uxcc, const unsigned int max)
{
	unsigned int cc = __HAL_DMA_GET_COUNTER(huart->hdmarx);
	if (*uxcc != cc)
	{
		HAL_UART_DMAPause(huart);
  	int len = 0;
		if (cc > *uxcc)
		{
			for (unsigned int i = max - *uxcc; i < max; i++)
				dest[len++] = rx[i];
			for (unsigned int i = 0; i < max - cc; i++)
				dest[len++] = rx[i];
		}
		else
		{
			for (unsigned int i = max - *uxcc; i < max - cc; i++)
				dest[len++] = rx[i];
		}
		HAL_UART_DMAResume(huart);
  	*uxcc = cc;
  	return len;
	}
	return 0;
}

void my_printf(char *format, ...)
{
	va_list args;
	const TickType_t xMaxBlockTime = pdMS_TO_TICKS( 200 );
	uint32_t ulNotificationValue;
	HAL_StatusTypeDef res;
	va_start(args, format);
	int len = vsniprintf((char *) dbgBuf, 256, format, args);
	va_end(args);
	res = HAL_UART_Transmit_DMA(&huart2, dbgBuf, len);
	ulNotificationValue = ulTaskNotifyTake(pdTRUE, xMaxBlockTime);
	if (res != HAL_OK || ulNotificationValue != 1)
	{
		/* Something went wrong during output... */
		//HAL_UART_DMAStop(&huart2);
		len = snprintf((char *) dbgBuf, 256, "Timeout waiting on the DMA completion for %u ticks - seems bad\r\n", 200);
		HAL_UART_Transmit(&huart2, dbgBuf, len, xMaxBlockTime);
	}
}

HAL_StatusTypeDef read_cell(CellTypeDef *cell, uint8_t a, uint8_t *dataBuf, const uint32_t I2C_Timeout)
{
	dataBuf[0] = a;
	dataBuf[1] = 0;
	dataBuf[2] = 0;
	HAL_I2C_Master_Transmit(cell->handle, cell->address, dataBuf, 3, I2C_Timeout);
	memset(dataBuf, 0, 3);
	return HAL_I2C_Master_Receive(cell->handle, cell->address | 1, dataBuf, 3, I2C_Timeout);
}

HAL_StatusTypeDef powerup_and_read(unsigned int c, uint8_t *dataBuf, const uint32_t I2C_Timeout)
{
	dataBuf[0] = 0xA0;
	dataBuf[1] = 0;
	dataBuf[2] = 0;
	// we power up both sides, and then power off the side we do not want to talk to
	// this seems to do the trick - when powering up only one side we get no answer
	unsigned int o = c ^ 1;
	HAL_GPIO_WritePin(cell[c].gpio, cell[c].pin, GPIO_PIN_RESET);
	HAL_GPIO_WritePin(cell[o].gpio, cell[o].pin, GPIO_PIN_RESET);
	HAL_Delay(3);
	HAL_GPIO_WritePin(cell[o].gpio, cell[o].pin, GPIO_PIN_SET);
	HAL_I2C_Master_Transmit(cell[c].handle, cell[c].address, dataBuf, 3, I2C_Timeout);
	return read_cell(cell + c, 2, dataBuf, I2C_Timeout);
}

HAL_StatusTypeDef write_word(CellTypeDef *cell, uint8_t *dataBuf, uint8_t a, uint8_t d1, uint8_t d2, const uint32_t I2C_Timeout)
{
	dataBuf[0] = 0x40 | a;
	dataBuf[1] = d1;
	dataBuf[2] = d2;
	HAL_StatusTypeDef res = HAL_I2C_Master_Transmit(cell->handle, cell->address, dataBuf, 3, I2C_Timeout);
	HAL_Delay(15); // wait 15 ms according to DS
	return res;
}

HAL_StatusTypeDef exit_command_mode(CellTypeDef *cell, uint8_t *dataBuf, const uint32_t I2C_Timeout)
{
	dataBuf[0] = 0x80;
	dataBuf[1] = 0;
	dataBuf[2] = 0;
	HAL_StatusTypeDef res = HAL_I2C_Master_Transmit(cell->handle, cell->address, dataBuf, 3, I2C_Timeout);
	HAL_Delay(15); // wait another 15 ms to update EEPROM signature
	return res;
}
/* USER CODE END 4 */

void StartDefaultTask(void const * argument)
{
  /* USER CODE BEGIN 5 */
  /* Infinite loop */
  for(;;)
  {
  	// put some kind of heartbeat here
    osDelay(1000);
  }
  /* USER CODE END 5 */
}

void StartWriteLineTask(void const * argument)
{
  /* USER CODE BEGIN StartWriteLineTask */
	const int nbAddress = 5;
	const uint8_t address[5] = { 0x28, 0x36, 0x46, 0x48, 0x51 };
	const uint32_t I2C_Timeout = I2Cx_TIMEOUT_MAX;
	HAL_StatusTypeDef res;
	//uint8_t detected = 0;
	uint8_t counted = 0;
	uint8_t dataBuf[4];
	uint32_t low[4] = { 950, 950, 950, 950 };
	uint8_t msg[50];
	unsigned int c[4] = { 0, 0, 0, 0 };
  MX_DISPLAY_Init();
	BSP_LCD_SetBackColor(LCD_COLOR_DARKGRAY);
	BSP_LCD_SetTextColor(LCD_COLOR_LIGHTBLUE);
	BSP_LCD_SetFont(&Font24);
	/* Power up load cells and detect them */
	while (counted != 4)
	{
		for (unsigned int i = 0; i < 4; i++)
		{
			sprintf((char *)msg,"Detect cell %u", i + 1);
			BSP_LCD_DisplayStringAtLine(i * 2, msg, CENTER_MODE);
			for (unsigned int j = 0; j < nbAddress; j++)
			{
				cell[i].address = address[j] << 1;
				res = powerup_and_read(i, dataBuf, I2C_Timeout);
				HAL_GPIO_WritePin(cell[i].gpio, cell[i].pin, GPIO_PIN_SET);
				HAL_Delay(10);
				if (res == HAL_OK && dataBuf[0] == 0x5A)
				{
					uint8_t a = (dataBuf[1] >> 2) & 3;
					uint8_t b = ((dataBuf[1] & 3) << 5) | (dataBuf[2] >> 3);
					sprintf((char *)msg,"%02X %u %02X", cell[i].address >> 1, a, b);
					BSP_LCD_DisplayStringAtLine(i * 2 + 1, msg, CENTER_MODE);
					break;
				} else {
					cell[i].address = 0;
					BSP_LCD_DisplayStringAtLine(i * 2 + 1, (uint8_t *)"-------------", CENTER_MODE);
				}
			}
		}
		BSP_LCD_SetBackColor(LCD_COLOR_BLACK);
		BSP_LCD_SetTextColor(LCD_COLOR_LIGHTGREEN);
		sprintf((char *)msg,"%02X %02X %02X %02X", cell[0].address >> 1, cell[1].address >> 1, cell[2].address >> 1, cell[3].address >> 1);
		BSP_LCD_DisplayStringAtLine(9, msg, CENTER_MODE);
		BSP_LCD_SetBackColor(LCD_COLOR_DARKGRAY);
		BSP_LCD_SetTextColor(LCD_COLOR_LIGHTBLUE);
		// should now check whether we have all the cells ready
		for (unsigned int i = 0; i < 4; i += 2)
		{
			if (cell[i].address != 0 && cell[i].address == cell[i + 1].address)
			{
				// need to change one of the cell's address
				res = powerup_and_read(i, dataBuf, I2C_Timeout);
				if (res == HAL_OK && dataBuf[0] == 0x5A)
				{
					// confirmed, now change the address
					uint8_t new = address[0];
					if ((new << 1) == cell[i].address)
						new = address[1];
					write_word(cell + i, dataBuf,
										 2,
										 0x0C | (new >> 5),
										 0x06 | ((new << 3) & 0xff),
										 I2C_Timeout);
					exit_command_mode(cell + i, dataBuf, I2C_Timeout);
					cell[i].address = new << 1;
					osDelay(50);
					HAL_GPIO_WritePin(cell[i].gpio, cell[i].pin, GPIO_PIN_SET);
					BSP_LCD_SetBackColor(LCD_COLOR_BLACK);
					BSP_LCD_SetTextColor(LCD_COLOR_YELLOW);
					sprintf((char *)msg,"%u %02X => %02X", i, cell[i + 1].address >> 1, cell[i].address >> 1);
					BSP_LCD_DisplayStringAtLine(10 + (i >> 1), msg, CENTER_MODE);
					BSP_LCD_SetBackColor(LCD_COLOR_DARKGRAY);
					BSP_LCD_SetTextColor(LCD_COLOR_LIGHTBLUE);
					osDelay(1000);
				}
				else
				{
					// should not happen...
					cell[i].address = 0;
					HAL_GPIO_WritePin(cell[i].gpio, cell[i].pin, GPIO_PIN_SET);
					BSP_LCD_SetBackColor(LCD_COLOR_BLACK);
					BSP_LCD_SetTextColor(LCD_COLOR_RED);
					sprintf((char *)msg,"%u BAD READ %d", i, res);
					BSP_LCD_DisplayStringAtLine(10 + (i >> 1), msg, CENTER_MODE);
					BSP_LCD_SetBackColor(LCD_COLOR_DARKGRAY);
					BSP_LCD_SetTextColor(LCD_COLOR_LIGHTBLUE);
				}
			}
		}
		osDelay(1000);
		counted = 0;
		for (unsigned int i = 0; i < 4; i++)
			if (cell[i].address != 0)
				counted += 1;
	}
	BSP_LCD_SetBackColor(0);
	availableCells = counted;
  /* Infinite loop */
  for(;;)
  {
  	// should maybe setup a way to go back to probe and address adjust mode if there are errors
  	uint32_t ticks = osKernelSysTick() / pdMS_TO_TICKS(1000);
  	BSP_LCD_SetTextColor(LCD_COLOR_GREEN);
  	BSP_LCD_SetFont(&Font24);
		sprintf((char *)msg,"WS %lu",ticks);
		BSP_LCD_DisplayStringAtLine(0, msg, CENTER_MODE);
		BSP_LCD_SetFont(&Font16);
		BSP_LCD_SetTextColor(LCD_COLOR_CYAN);
		sprintf((char *)msg,"%u %u %u %u",errs[0],badstatus[0],errs[1],badstatus[1]);
		BSP_LCD_DisplayStringAtLine(3, msg, CENTER_MODE);
		sprintf((char *)msg,"%u %u %u %u",errs[2],badstatus[2],errs[3],badstatus[3]);
		BSP_LCD_DisplayStringAtLine(4, msg, CENTER_MODE);
		for (unsigned int i = 0; i < 4; i++)
		{
			if (c[i] != counts[i])
			{
				uint32_t weight = (bridgeValue[i * 4] & 0x3f) * 256 + bridgeValue[i * 4 + 1];
				if (setZero[i])
				{
					low[i] = weight;
					setZero[i] = 0;
				}
				if (weight < low[i])
					weight = 0;
				else
					weight -= low[i];
				weight *= 5000;
				weight /= 14000;
				sprintf((char *)msg,"%u: %2d.%02d kg", i, (uint16_t)(weight / 100), (uint16_t)(weight % 100));
				BSP_LCD_SetFont(&Font24);
				BSP_LCD_SetTextColor(LCD_COLOR_LIGHTGRAY);
				BSP_LCD_DisplayStringAtLine(i * 2 + 4, msg, CENTER_MODE);
				uint32_t temp = (bridgeValue[i * 4 + 2] << 3) + (bridgeValue[i * 4 + 3] >> 5);
				temp *= 2000;
				temp /= 2048; // just a guess at this point...
				temp -= 500;
				sprintf((char *)msg,"  T: %2d.%01d C  ", (uint16_t)(temp / 10), (uint16_t)(temp % 10));
				BSP_LCD_SetTextColor(LCD_COLOR_LIGHTMAGENTA);
				BSP_LCD_DisplayStringAtLine(i * 2 + 5, msg, CENTER_MODE);
				c[i] = counts[i];
			}
		}
    osDelay(333);
  }
  /* USER CODE END StartWriteLineTask */
}

void StartReadI2C1Task(void const * argument)
{
  /* USER CODE BEGIN StartReadI2C1Task */
	const unsigned int cellStart = 0;
	const unsigned int cellEnd = 2;
	/* Need to wait until I2C bus 1 peripherals are properly setup in WriteLine task */
	for(;;)
	{
		osDelay(500);
		if (availableCells == 4)
			break;
	}
	const uint32_t I2C_Timeout = I2Cx_TIMEOUT_MAX;
	HAL_StatusTypeDef res;
	uint8_t dataBuf[4];
	for (unsigned int i = cellStart; i < cellEnd; i++)
		HAL_GPIO_WritePin(cell[i].gpio, cell[i].pin, GPIO_PIN_RESET);
	HAL_Delay(10);
	/* Infinite loop */
	for(;;)
	{
		for (unsigned int i = cellStart; i < cellEnd; i++)
		{
			memset(dataBuf, 0, 4);
			res = HAL_I2C_Master_Receive(cell[i].handle, cell[i].address | 1, dataBuf, 4, I2C_Timeout);
			if (res != HAL_OK)
			{
				errs[i] += 1;
				HAL_I2C_DeInit(cell[i].handle);
				osDelay(500);
				HAL_I2C_Init(cell[i].handle);
				osDelay(500);
			}
			else
			{
				uint8_t status = (dataBuf[0] >> 6) & 0x3;
				if (status == 0)
				{
					counts[i] += 1;
					memcpy((void *) bridgeValue + i * 4, dataBuf, 4);
				} else if (status == 2)
					stale[i] += 1;
				else
					badstatus[i] += 1;
			}
		}
		osDelay(50);
	}
  /* USER CODE END StartReadI2C1Task */
}

void StartReadI2C2Task(void const * argument)
{
  /* USER CODE BEGIN StartReadI2C2Task */
	//const uint32_t I2C_Timeout = I2Cx_TIMEOUT_MAX;
	//HAL_StatusTypeDef res;
	//uint8_t dataBuf[4];
	/* Infinite loop */
	for(;;)
	{
		//memset(dataBuf, 0, 4);
		//res = HAL_I2C_Master_Receive(&hi2c2, (0x28 << 1) | 1, dataBuf, 4, I2C_Timeout);
		//if (res != HAL_OK)
		//{
		//	errs2 += 1;
		//	HAL_I2C_DeInit(&hi2c3);
		//	osDelay(500);
		//	HAL_I2C_Init(&hi2c3);
		//	osDelay(500);
		//}
		//else
		//{
		//	uint8_t status = (dataBuf[0] >> 6) & 0x3;
		//	if (status == 0)
		//	{
		//		counts2 += 1;
		//		memcpy((void *) bridgeValue2, dataBuf, 4);
		//	} else if (status == 2)
		//		stale2 += 1;
		//	else
		//		badstatus2 += 1;
		//}
		osDelay(5000);
	}
  /* USER CODE END StartReadI2C2Task */
}

void StartReadI2C3Task(void const * argument)
{
  /* USER CODE BEGIN StartReadI2C3Task */
	const unsigned int cellStart = 2;
	const unsigned int cellEnd = 4;
	/* Need to wait until I2C bus 3 peripherals are properly setup in WriteLine task */
	for(;;)
	{
		osDelay(500);
		if (availableCells == 4)
			break;
	}
	const uint32_t I2C_Timeout = I2Cx_TIMEOUT_MAX;
	HAL_StatusTypeDef res;
	uint8_t dataBuf[4];
	for (unsigned int i = cellStart; i < cellEnd; i++)
		HAL_GPIO_WritePin(cell[i].gpio, cell[i].pin, GPIO_PIN_RESET);
	HAL_Delay(10);
	/* Infinite loop */
	for(;;)
	{
		for (unsigned int i = cellStart; i < cellEnd; i++)
		{
			memset(dataBuf, 0, 4);
			res = HAL_I2C_Master_Receive(cell[i].handle, cell[i].address | 1, dataBuf, 4, I2C_Timeout);
			if (res != HAL_OK)
			{
				errs[i] += 1;
				HAL_I2C_DeInit(cell[i].handle);
				osDelay(500);
				HAL_I2C_Init(cell[i].handle);
				osDelay(500);
			}
			else
			{
				uint8_t status = (dataBuf[0] >> 6) & 0x3;
				if (status == 0)
				{
					counts[i] += 1;
					memcpy((void *) bridgeValue + i * 4, dataBuf, 4);
				} else if (status == 2)
					stale[i] += 1;
				else
					badstatus[i] += 1;
			}
		}
		osDelay(50);
	}
  /* USER CODE END StartReadI2C3Task */
}

void StartReadI2C4Task(void const * argument)
{
  /* USER CODE BEGIN StartReadI2C4Task */
	//const uint32_t I2C_Timeout = I2Cx_TIMEOUT_MAX;
	//HAL_StatusTypeDef res;
	//uint8_t dataBuf[4];
	/* Infinite loop */
	for(;;)
	{
		//memset(dataBuf, 0, 4);
		//res = HAL_I2C_Master_Receive(&hi2c4, (0x28 << 1) | 1, dataBuf, 4, I2C_Timeout);
		//if (res != HAL_OK)
		//{
		//	errs4 += 1;
		//	HAL_I2C_DeInit(&hi2c4);
		//	osDelay(500);
		//	HAL_I2C_Init(&hi2c4);
		//	osDelay(500);
		//}
		//else
		//{
		//	uint8_t status = (dataBuf[0] >> 6) & 0x3;
		//	if (status == 0)
		//	{
		//		counts4 += 1;
		//		memcpy((void *) bridgeValue4, dataBuf, 4);
		//	} else if (status == 2)
		//		stale4 += 1;
		//	else
		//		badstatus4 += 1;
		//}
		osDelay(5000);
	}
  /* USER CODE END StartReadI2C4Task */
}

void StartShowWeightTask(void const * argument)
{
  /* USER CODE BEGIN StartShowWeightTask */
  /* Infinite loop */
  for(;;)
  {
    osDelay(50);
  }
  /* USER CODE END StartShowWeightTask */
}

void StartDebugTask(void const * argument)
{
  /* USER CODE BEGIN StartDebugTask */
	HAL_UART_Receive_DMA(&huart2, u2rx, 64);
	unsigned int u2cc = __HAL_DMA_GET_COUNTER(huart2.hdmarx);
	//HAL_StatusTypeDef res;
	int inLen = 0;
	my_printf("\r\nStarting Run on %s\r\n# ", tskKERNEL_VERSION_NUMBER);
	/* Infinite loop */
	for(;;)
	{
		int len = UART_Receive(input + inLen, u2rx, &huart2, &u2cc, 64);
		if (len > 0)
		{
			my_printf("%.*s", len, input + inLen);
			inLen += len;
			if (input[inLen - 1] == '\r')
			{
				int cmdLen = inLen - 1;
				my_printf("\nReceived command '%.*s'\r\n# ", cmdLen, input);
				inLen = 0;
				if (strncmp((char *) input, "UART", cmdLen) == 0)
					my_printf("u2rc = %u u2hrc = %u u2tc = %u u2htc = %u u2ec = %u u2ic = %u u2cc = %u\r\n# ", u2rc, u2hrc, u2tc, u2htc, u2ec, u2ic, u2cc);
			}
		}
		osDelay(50);
	}
  /* USER CODE END StartDebugTask */
}

 /**
  * @brief  Period elapsed callback in non blocking mode
  * @note   This function is called  when TIM6 interrupt took place, inside
  * HAL_TIM_IRQHandler(). It makes a direct call to HAL_IncTick() to increment
  * a global variable "uwTick" used as application time base.
  * @param  htim : TIM handle
  * @retval None
  */
void HAL_TIM_PeriodElapsedCallback(TIM_HandleTypeDef *htim)
{
  if (htim->Instance == TIM6) {
    HAL_IncTick();
  }
}

void Error_Handler(void)
{
  __disable_irq();
  while (1)
  {
  }
}

/************************ (C) COPYRIGHT STMicroelectronics *****END OF FILE****/

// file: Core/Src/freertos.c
/* USER CODE BEGIN Header */
/**
  ******************************************************************************
  * File Name          : freertos.c
  * Description        : Code for freertos applications
  ******************************************************************************
  * @attention
  *
  * <h2><center>&copy; Copyright (c) 2020 STMicroelectronics.
  * All rights reserved.</center></h2>
  *
  * This software component is licensed by ST under Ultimate Liberty license
  * SLA0044, the "License"; You may not use this file except in compliance with
  * the License. You may obtain a copy of the License at:
  *                             www.st.com/SLA0044
  *
  ******************************************************************************
  */
/* USER CODE END Header */

#include "FreeRTOS.h"
#include "task.h"
#include "main.h"

/* GetIdleTaskMemory prototype (linked to static allocation support) */
void vApplicationGetIdleTaskMemory( StaticTask_t **ppxIdleTaskTCBBuffer, StackType_t **ppxIdleTaskStackBuffer, uint32_t *pulIdleTaskStackSize );

/* Hook prototypes */
void vApplicationStackOverflowHook(TaskHandle_t xTask, signed char *pcTaskName);
void vApplicationMallocFailedHook(void);

/* USER CODE BEGIN 4 */
__weak void vApplicationStackOverflowHook(TaskHandle_t xTask, signed char *pcTaskName)
{
   /* Run time stack overflow checking is performed if
   configCHECK_FOR_STACK_OVERFLOW is defined to 1 or 2. This hook function is
   called if a stack overflow is detected. */
	while ( 1 )
	{
		HAL_GPIO_TogglePin(GPIOA, GPIO_PIN_5); // toggle green led
		HAL_Delay(200);
	}
}
/* USER CODE END 4 */

/* USER CODE BEGIN 5 */
__weak void vApplicationMallocFailedHook(void)
{
   /* vApplicationMallocFailedHook() will only be called if
   configUSE_MALLOC_FAILED_HOOK is set to 1 in FreeRTOSConfig.h. It is a hook
   function that will get called if a call to pvPortMalloc() fails.
   pvPortMalloc() is called internally by the kernel whenever a task, queue,
   timer or semaphore is created. It is also called by various parts of the
   demo application. If heap_1.c or heap_2.c are used, then the size of the
   heap available to pvPortMalloc() is defined by configTOTAL_HEAP_SIZE in
   FreeRTOSConfig.h, and the xPortGetFreeHeapSize() API function can be used
   to query the size of free heap space that remains (although it does not
   provide information on how the remaining heap might be fragmented). */
	while ( 1 )
	{
		HAL_GPIO_TogglePin(GPIOA, GPIO_PIN_5); // toggle green led
		HAL_Delay(1000);
	}
}
/* USER CODE END 5 */

/* USER CODE BEGIN GET_IDLE_TASK_MEMORY */
static StaticTask_t xIdleTaskTCBBuffer;
static StackType_t xIdleStack[configMINIMAL_STACK_SIZE];

void vApplicationGetIdleTaskMemory( StaticTask_t **ppxIdleTaskTCBBuffer, StackType_t **ppxIdleTaskStackBuffer, uint32_t *pulIdleTaskStackSize )
{
  *ppxIdleTaskTCBBuffer = &xIdleTaskTCBBuffer;
  *ppxIdleTaskStackBuffer = &xIdleStack[0];
  *pulIdleTaskStackSize = configMINIMAL_STACK_SIZE;
  /* place for user code */
}
/* USER CODE END GET_IDLE_TASK_MEMORY */

/************************ (C) COPYRIGHT STMicroelectronics *****END OF FILE****/
